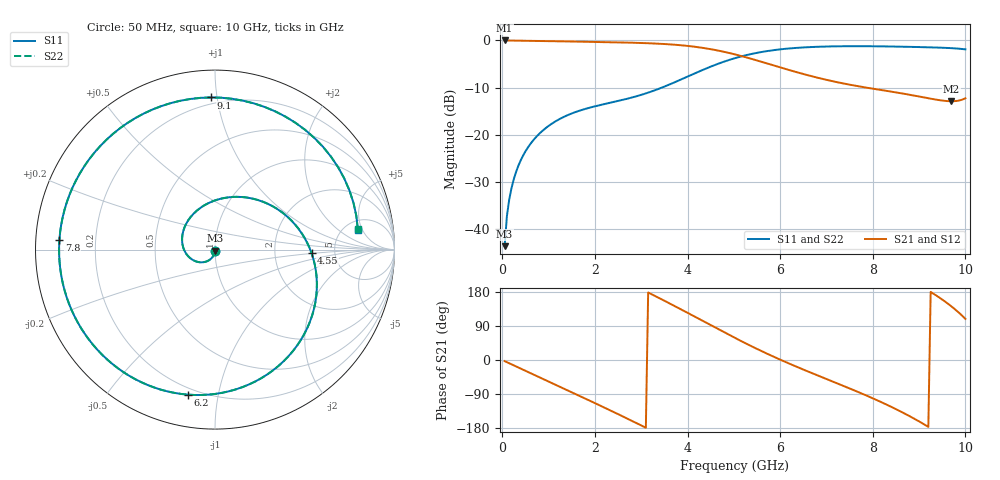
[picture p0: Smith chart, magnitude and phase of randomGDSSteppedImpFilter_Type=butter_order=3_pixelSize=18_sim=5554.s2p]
! freq	dB(S11)	phase(S11)	dB(S12)	phase(S12)
!  dB(S21)	phase(S21)	dB(S22)	phase(S22)
!S-par simulation data
#  GHz  S  DB  R 50
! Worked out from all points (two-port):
!   200 points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, 50 MHz to 10 GHz, reference 50 ohm
!   highest |S21| = -0.01 dB at 50 MHz (marker M1); lowest = -12.9 dB at 9.7 GHz (marker M2)
!   |S21| within 3 dB of the highest: start of sweep to 5.041 GHz
!   lowest |S11| = -43.7 dB at 50 MHz (marker M3), VSWR 1.01, Z = 50 - j0.652 ohm
!   |S11| at or under -10 dB: start of sweep to 3.452 GHz
!   |S22| runs from -43.5 to -1.2 dB; largest |S21 - S12| = 0
!   S11 on the Smith chart (normalised r, x): 50 MHz: 1.00, -0.01; 4.55 GHz: 3.32, -0.20; 6.2 GHz: 0.16, -0.82; 7.8 GHz: 0.07, +0.03; 9.1 GHz: 0.16, +0.96; 10 GHz: 6.59, +4.10
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0.05  -43.71 -88.2  -0.01 -2.9  -0.01 -2.9  -43.50 -88.1
0.1  -37.28 -93.8  -0.01 -5.8  -0.01 -5.8  -37.28 -93.8
0.2  -31.33 -100.9  -0.02 -11.5  -0.02 -11.5  -31.33 -100.9
0.5  -23.57 -118.7  -0.06 -28.5  -0.06 -28.5  -23.57 -118.7
1.15  -17.18 -156.2  -0.16 -65.3  -0.16 -65.3  -17.18 -156.2
1.75  -14.67 169.6  -0.27 -99.4  -0.27 -99.4  -14.67 169.7
2.2  -13.53 143.7  -0.35 -125.3  -0.35 -125.3  -13.53 143.8
2.65  -12.51 117.2  -0.44 -151.7  -0.44 -151.7  -12.51 117.3
3.4  -10.20 71.5  -0.71 162.7  -0.71 162.7  -10.20 71.7
4  -7.68 33.4  -1.16 124.5  -1.16 124.5  -7.68 33.6
4.55  -5.37 -2.2  -1.94 88.7  -1.94 88.7  -5.37 -2.1
5.05  -3.69 -34.2  -3.03 56.6  -3.03 56.6  -3.69 -34.1
5.65  -2.37 -70.2  -4.69 20.5  -4.69 20.5  -2.37 -70.2
6.2  -1.70 -100.7  -6.30 -9.7  -6.30 -9.7  -1.70 -100.6
6.7  -1.39 -126.6  -7.66 -35.3  -7.66 -35.3  -1.39 -126.6
7.3  -1.24 -157.2  -9.01 -65.0  -9.01 -65.0  -1.24 -157.1
7.8  -1.22 176.3  -9.92 -90.4  -9.92 -90.4  -1.22 176.4
8.35  -1.28 144.3  -10.80 -120.7  -10.80 -120.7  -1.28 144.4
9.1  -1.43 91.5  -12.10 -169.2  -12.10 -169.2  -1.43 91.7
9.4  -1.51 66.4  -12.63 167.9  -12.63 167.9  -1.51 66.6
9.7  -1.64 38.7  -12.92 141.3  -12.92 141.3  -1.64 38.9
10  -1.90 7.9  -12.28 108.5  -12.28 108.5  -1.90 8.1
